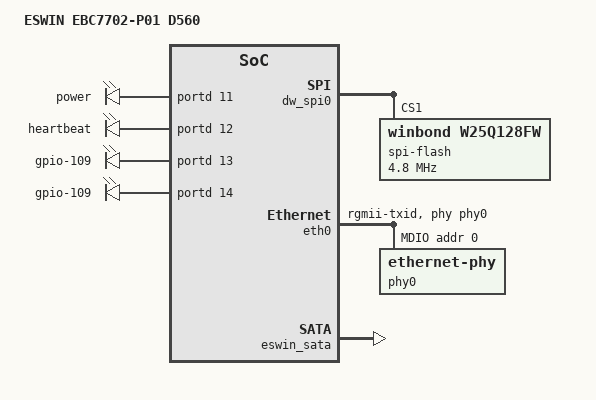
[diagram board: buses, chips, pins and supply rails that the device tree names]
// SPDX-License-Identifier: GPL-2.0
/*
 * Device Tree file for Eswin EIC7700 SoC.
 *
 * Copyright 2024, Beijing ESWIN Computing Technology Co., Ltd.. All rights reserved.
 * SPDX-License-Identifier: GPL-2.0
 *
 * This program is free software: you can redistribute it and/or modify
 * it under the terms of the GNU General Public License as published by
 * the Free Software Foundation, version 2.
 *
 * This program is distributed in the hope that it will be useful,
 * but WITHOUT ANY WARRANTY; without even the implied warranty of
 * MERCHANTABILITY or FITNESS FOR A PARTICULAR PURPOSE.  See the
 * GNU General Public License for more details.
 *
 * You should have received a copy of the GNU General Public License
 * along with this program.  If not, see <https://www.gnu.org/licenses/>.
 */

#include <dt-bindings/gpio/gpio.h>
#include <dt-bindings/soc/eswin-pmp.h>
#include "eic7702-s560.dtsi"
#include "dt-bindings/media/eswin_mipi_dsi.h"
#include "media_bus_format.h"
/ {
	#address-cells = <2>;
	#size-cells = <2>;
	model = "ESWIN EBC7702-P01 D560";


	aliases {
		serial0 = &uart0;
		i2c0 = &i2c0;
		i2c1 = &i2c1;
		i2c2 = &i2c2;
		i2c3 = &i2c3;
		i2c4 = &i2c4;
		i2c5 = &i2c5;
		i2c6 = &i2c6;
		i2c7 = &i2c7;
		i2c8 = &i2c8;
		i2c9 = &i2c9;
		i2c11 = &i2c11;
		i2c12 = &i2c12;
		gpio0 = &gpio0;
		spi0 = &bootspi;
		spi1 = &dw_spi0;
		spi2 = &d1_bootspi;
	};

	leds {
		compatible = "gpio-leds";
		pinctrl-names = "default";
		pinctrl-0 = <&pinctrl_gpio6_default &pinctrl_gpio107_default &pinctrl_gpio108_default &pinctrl_gpio109_default>;

		gpio-107 {
			gpios = <&portd 11 GPIO_ACTIVE_HIGH>;
			label = "power";
			linux,default-trigger = "default-on";
		};

		gpio-108 {
			gpios = <&portd 12 GPIO_ACTIVE_HIGH>;
			label = "heartbeat";
			linux,default-trigger = "heartbeat";
		};

		gpio-109 {
			gpios = <&portd 13 GPIO_ACTIVE_HIGH>;
			label = "gpio-109";
			linux,default-trigger = "default-off";
		};

		gpio-110 {
			gpios = <&portd 14 GPIO_ACTIVE_HIGH>;
			label = "gpio-109";
			linux,default-trigger = "default-off";
		};
	};

};

&dw_spi0 {
	status = "okay";
	spi-flash@1 {
		reg = <1>;
		compatible = "winbond,w25q128fw",
			"jedec,spi-nor";
		spi-max-frequency = <4800000>;
	};
};

&eth0 {
	status = "okay";
	phy-mode = "rgmii-txid";
	max-speed = <1000>;
	phy-handle = <&phy0>;
	pinctrl-names = "default";
	pinctrl-0 = <&pinctrl_gpio94_default>;
	rst-gpios = <&portc 30 GPIO_ACTIVE_LOW>;
	dly-param-1000m = <0x23232323 0x5a0c6423 0x0c0c0c0c>;
	dly-param-100m = <0x50505050 0x803f8050 0x3f3f3f3f>;
	dly-param-10m = <0 0 0>;
	mdio0 {
		#address-cells = <1>;
		#size-cells = <0>;
		phy0: ethernet-phy@1 {
			reg = <0>;
		};
	};
};

&eth1 {
	status = "disabled";
	phy-mode = "rgmii-txid";
	max-speed = <1000>;
	phy-handle = <&phy1>;
	pinctrl-names = "default";
	pinctrl-0 = <&pinctrl_gpio16_default>;
	rst-gpios = <&porta 16 GPIO_ACTIVE_LOW>;
	dly-param-1000m = <0x25252525 0x5a266425 0x26262626>;
	dly-param-100m = <0x48484848 0x80588048 0x58585858>;
	dly-param-10m = <0 0 0>;
	mdio1 {
		#address-cells = <1>;
		#size-cells = <0>;
		phy1: ethernet-phy@1 {
			reg = <0>;
		};
	};
};

&eswin_sata {
	status = "okay";
};

&pcie {
	status = "disabled";
};
&display_logo {
	status = "disabled";
};
&mipi_dsi {
	status = "disabled";
	panel {
		#address-cells = <1>;
		#size-cells = <0>;
		compatible = "simple-panel-dsi";
		reg = <0>;
		dsi,format = <MIPI_DSI_FMT_RGB888>;
		bus-format = <MEDIA_BUS_FMT_RGB888_1X24>;
		dsi,lanes = <4>;
		status = "disabled";
		pinctrl-names = "default";
		pinctrl-0 = <&pinctrl_gpio7_default &pinctrl_gpio111_default>;
		backlight-gpios = <&porta 7 GPIO_ACTIVE_LOW>;
		rst-gpios = <&portd 15 GPIO_ACTIVE_LOW>;
		display-timings {
			native-mode = <&timing0>;
			timing0: timing0 {
				/*The fpga platform does not need to set the clock*/
				clock-frequency = <148500000>;
				hactive = <1080>;
				vactive = <1920>;
				hsync-len = <60>;
				hback-porch = <60>;
				hfront-porch = <60>;
				vsync-len = <8>;
				vback-porch = <8>;
				vfront-porch = <8>;
				hsync-active = <0>;
				vsync-active = <0>;
				pixelclk-active = <1>;
			};
		};
	};
};
&d1_mipi_dsi {
	status = "disabled";
};

&hdmi {
	status = "disabled";
};
&d1_hdmi {
	status = "disabled";
};
&display_subsystem {
	status = "disabled";
};
&d1_display_subsystem {
	double-screen = <1>;
	status = "disabled";
};
&route_hdmi {
	status = "disabled";
};
&d1_route_hdmi {
	status = "disabled";
};
&route_mipi {
	status = "disabled";
};
&d1_route_mipi {
	status = "disabled";
};
&osd {
	status = "disabled";
};
&d1_osd {
	status = "disabled";
};
